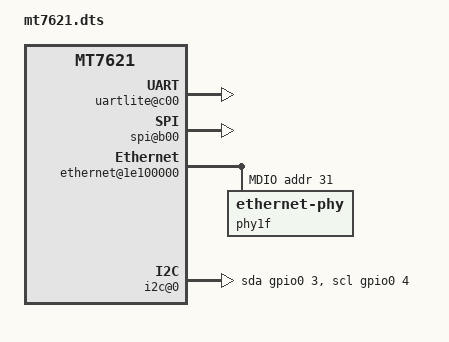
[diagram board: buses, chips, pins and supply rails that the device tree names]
#include <dt-bindings/interrupt-controller/mips-gic.h>
#include <dt-bindings/gpio/gpio.h>

/dts-v1/;

/ {
	#address-cells = <1>;
	#size-cells = <1>;
	compatible = "mediatek,mtk7621-soc";

	cpus {
		cpu@0 {
			compatible = "mips,mips1004Kc";
		};

		cpu@1 {
			compatible = "mips,mips1004Kc";
		};
	};

	cpuintc: cpuintc@0 {
		#address-cells = <0>;
		#interrupt-cells = <1>;
		interrupt-controller;
		compatible = "mti,cpu-interrupt-controller";
	};

	cpuclock: cpuclock@0 {
		#clock-cells = <0>;
		compatible = "fixed-clock";
	};

	hclk: hclk@0 {
	        #clock-cells = <0>;
		compatible = "fixed-clock";

		clock-frequency = <220000000>;
	};

	sysclock: sysclock@0 {
		#clock-cells = <0>;
		compatible = "fixed-clock";

		clock-frequency	= <50000000>;
	};

	rb760-leds {
		status = "disabled";
		compatible = "leds-rb";

		sfp_led {
			label = "sfp-led";
			gpios = <&gpio0 9 GPIO_ACTIVE_HIGH>;
		};
		usb_power_off {
			label = "usb-power-off";
			gpios = <&gpio0 12 GPIO_ACTIVE_LOW>;
		};
		power_led {
			label = "power-led";
			gpios = <&gpio0 16 GPIO_ACTIVE_HIGH>;
			default-state = "on";
		};
		button {
			label = "button";
			gpios = <&gpio0 18 GPIO_ACTIVE_LOW>;
			default-state = "input";
		};
		mode_button {
			label = "mode-button";
			gpios = <&gpio0 13 GPIO_ACTIVE_LOW>;
			default-state = "input";
		};
	};

	m33-leds {
		status = "disabled";
		compatible = "leds-rb";

		user_led {
			label = "user-led";
			gpios = <&gpio0 0 GPIO_ACTIVE_HIGH>;
		};
		ext_pin3 {
			label = "ext-pin3";
			gpios = <&gpio0 3 GPIO_ACTIVE_HIGH>;
			default-state = "input";
		};
		ext_pin5 {
			label = "ext-pin5";
			gpios = <&gpio0 4 GPIO_ACTIVE_HIGH>;
			default-state = "input";
		};
		pcie_power_off {
			label = "mpcie-power-off";
			gpios = <&gpio0 9 GPIO_ACTIVE_LOW>;
		};
		pcie2_power_off {
			label = "mpcie2-power-off";
			gpios = <&gpio0 10 GPIO_ACTIVE_LOW>;
		};
		usb_power_off {
			label = "usb-power-off";
			gpios = <&gpio0 12 GPIO_ACTIVE_LOW>;
		};
		button {
			label = "button";
			gpios = <&gpio0 18 GPIO_ACTIVE_LOW>;
			default-state = "input";
		};
	};

	m11-leds {
		status = "disabled";
		compatible = "leds-rb";

		user_led {
			label = "user-led";
			gpios = <&gpio0 0 GPIO_ACTIVE_HIGH>;
		};
		pcie_power_off {
			label = "mpcie-power-off";
			gpios = <&gpio0 9 GPIO_ACTIVE_LOW>;
		};
		button {
			label = "button";
			gpios = <&gpio0 18 GPIO_ACTIVE_LOW>;
			default-state = "input";
		};
		led1 {
			label = "led1";
			gpios = <&gpio0 26 GPIO_ACTIVE_LOW>;
		};
		led2 {
			label = "led2";
			gpios = <&gpio0 25 GPIO_ACTIVE_LOW>;
		};
		led3 {
			label = "led3";
			gpios = <&gpio0 24 GPIO_ACTIVE_LOW>;
		};
		led4 {
			label = "led4";
			gpios = <&gpio0 23 GPIO_ACTIVE_LOW>;
		};
		led5 {
			label = "led5";
			gpios = <&gpio0 22 GPIO_ACTIVE_LOW>;
		};
	};

	ltap-leds {
		status = "disabled";
		compatible = "leds-rb";

		user_led {
			label = "user-led";
			gpios = <&gpio0 0 GPIO_ACTIVE_HIGH>;
		};
		pcie_power_off {
			label = "mpcie-power-off";
			gpios = <&gpio0 10 GPIO_ACTIVE_LOW>;
		};
		pcie2_power_off {
			label = "mpcie2-power-off";
			gpios = <&gpio0 11 GPIO_ACTIVE_LOW>;
		};
		usb_power_off {
			label = "usb-power-off";
			gpios = <&gpio0 12 GPIO_ACTIVE_LOW>;
		};
		gps_reset {
			label = "gps-reset";
			gpios = <&gpio0 13 GPIO_ACTIVE_HIGH>;
			default-state = "keep";
		};
		control {
			label = "control";
			gpios = <&gpio0 15 GPIO_ACTIVE_HIGH>;
			default-state = "on";
		};
		button {
			label = "button";
			gpios = <&gpio0 18 GPIO_ACTIVE_LOW>;
			default-state = "input";
		};
		power_led {
			label = "power-led";
			gpios = <&gpio0 23 GPIO_ACTIVE_HIGH>;
			default-state = "on";
		};
		mode_button {
			label = "mode-button";
			gpios = <&gpio0 24 GPIO_ACTIVE_LOW>;
			default-state = "input";
		};
		sim_select {
			label = "sim-select";
			gpios = <&gpio0 25 GPIO_ACTIVE_LOW>;
		};
		gps_ant_select {
			label = "gps-ant-select";
			gpios = <&gpio0 27 GPIO_ACTIVE_HIGH>;
		};
		lte_reset {
			label = "lte-reset";
			gpios = <&gpio0 29 GPIO_ACTIVE_LOW>;
			default-state = "on";
		};
		led1 {
			label = "led1";
			gpios = <&gpio0 0 GPIO_ACTIVE_HIGH>;
			type = "wifi";
		};
		led2{
			label = "led2";
			gpios = <&gpio0 1 GPIO_ACTIVE_HIGH>;
			type = "wifi";
		};
		led3 {
			label = "led3";
			gpios = <&gpio0 2 GPIO_ACTIVE_HIGH>;
			type = "wifi";
		};
		led4 {
			label = "led4";
			gpios = <&gpio0 3 GPIO_ACTIVE_HIGH>;
			type = "wifi";
		};
		led5 {
			label = "led5";
			gpios = <&gpio0 4 GPIO_ACTIVE_HIGH>;
			type = "wifi";
		};
	};
	
	beeper {
	        status = "disabled";

	        compatible = "rb,gpio-beep";

		gpios = <&gpio0 15 GPIO_ACTIVE_LOW>;
	};

	poe-simple {
		status = "disabled";
		compatible = "rb,poe-out-simple";
		eth_port = <4>;
		has_low_current_sense = <1>;
		gpi_status = <&gpio0 7 GPIO_ACTIVE_HIGH>;
		gpo_on = <&gpio0 17 GPIO_ACTIVE_HIGH>;
	};

	palmbus@1e000000 {
		compatible = "palmbus";
		reg = <0x1E000000 0x100000>;
		ranges = <0x0 0x1E000000 0x0FFFFF>;

		#address-cells = <1>;
		#size-cells = <1>;

		sysc@0 {
			compatible = "mtk,mt7621-sysc";
			reg = <0x0 0x100>;
		};

		wdt@100 {
			compatible = "mtk,mt7621-wdt";
			reg = <0x100 0x100>;
		};

		gpio0: gpio@600 {
			#gpio-cells = <2>;
			#interrupt-cells = <2>;
			compatible = "mediatek,mt7621-gpio";
			gpio-controller;
			interrupt-controller;
			reg = <0x600 0x100>;
			interrupt-parent = <&gic>;
			interrupts = <GIC_SHARED 12 IRQ_TYPE_LEVEL_HIGH>;
		};

		memc@5000 {
			compatible = "mtk,mt7621-memc";
			reg = <0x300 0x100>;
		};

		cpc@1fbf0000 {
			     compatible = "mtk,mt7621-cpc";
			     reg = <0x1fbf0000 0x8000>;
		};

		mc@1fbf8000 {
			    compatible = "mtk,mt7621-mc";
			    reg = <0x1fbf8000 0x8000>;
 		};

		uartlite@c00 {
			compatible = "ns16550a";
			reg = <0xc00 0x100>;

			clocks = <&sysclock>;

			interrupt-parent = <&gic>;
			interrupts = <GIC_SHARED 26 IRQ_TYPE_LEVEL_HIGH>;

			reg-shift = <2>;
			reg-io-width = <4>;
			no-loopback-test;
		};

		uartlite@e00 {
			status = "disabled";
			compatible = "ns16550a";
			reg = <0xe00 0x100>;

			clocks = <&sysclock>;

			interrupt-parent = <&gic>;
			interrupts = <GIC_SHARED 28 IRQ_TYPE_LEVEL_HIGH>;

			reg-shift = <2>;
			reg-io-width = <4>;
			no-loopback-test;
		};
		
		spi@b00 {
			status = "okay";

			compatible = "ralink,mt7621-spi";
			reg = <0xb00 0x100>;

			clocks = <&hclk>;

			resets = <&rstctrl 18>;
			reset-names = "spi";

			#address-cells = <1>;
			#size-cells = <0>;

			m25p80@0 {
				#address-cells = <1>;
				#size-cells = <1>;
				status = "disabled";
				compatible = "jedec,spi-nor";
				reg = <0>;
				spi-max-frequency = <30000000>;
				m25p,chunked-io = <32>;
	
				partition@40000 {
					 label = "RouterOS";
					 reg = <0x40000 0xfc0000>;
				};
				partition@0 {
					 label = "RouterBoot";
					 reg = <0x0 0x40000>;
				};
			};

			m25p80@1 {
				#address-cells = <1>;
				#size-cells = <1>;
				status = "disabled";
				compatible = "jedec,spi-nor";
				reg = <1>;
				spi-max-frequency = <30000000>;
				m25p,chunked-io = <32>;
	
				partition@40000 {
					 label = "RouterOS";
					 reg = <0x40000 0xfc0000>;
				};
				partition@0 {
					 label = "RouterBootFake";
					 reg = <0x0 0x40000>;
				};
			};
			
			m25p80_boot@0 {
				#address-cells = <1>;
				#size-cells = <1>;
				status = "disabled";
				compatible = "jedec,spi-nor";
				reg = <0>;
				spi-max-frequency = <30000000>;
				m25p,chunked-io = <32>;
	
				partition@0 {
					 label = "RouterBoot";
					 reg = <0x0 0x40000>;
				};
			};
			
			ts@1 {
				status = "disabled";
				
				compatible = "rb-spi-ts";
				reg = <1>;
				spi-max-frequency = <2000000>;
			};
		};
	};

	rstctrl: rstctrl {
		compatible = "ralink,rt2880-reset";
		#reset-cells = <1>;
	};

	sdhci@1e130000 {
		status = "disabled";

		compatible = "ralink,mt7620-sdhci";
		reg = <0x1E130000 0x4000>;

		interrupt-parent = <&gic>;
		interrupts = <GIC_SHARED 20 IRQ_TYPE_LEVEL_HIGH>;
	};

	xhci@1e1c0000 {
		status = "disabled";

		compatible = "mediatek,mt8173-xhci";
		reg = <0x1e1c0000 0x1000
		       0x1e1d0700 0x0100>;
		reg-names = "mac", "ippc";

		clocks = <&sysclock>;
		clock-names = "sys_ck";

		interrupt-parent = <&gic>;
		interrupts = <GIC_SHARED 22 IRQ_TYPE_LEVEL_HIGH>;
	};

	crypto@1e004000 {
		compatible = "mediatek,mt7621-crypto";
		reg = <0x1e004000 0x1000>;

		interrupt-parent = <&gic>;
		interrupts = <GIC_SHARED 19 IRQ_TYPE_LEVEL_HIGH>;
	};

	gic: interrupt-controller@1fbc0000 {
		compatible = "mti,gic";
		reg = <0x1fbc0000 0x80>;

		interrupt-controller;
		#interrupt-cells = <3>;

		mti,reserved-cpu-vectors = <7>;

		interrupt-parent = <&cpuintc>;

		timer {
			compatible = "mti,gic-timer";
			interrupts = <GIC_LOCAL 1 IRQ_TYPE_NONE>;
			clocks = <&cpuclock>;
		};

	};

	ethernet@1e100000 {
		compatible = "ralink,mt7621-eth";
		reg = <0x1e100000 10000>;

		#address-cells = <1>;
		#size-cells = <0>;

		resets = <&rstctrl 6 &rstctrl 23>;
		reset-names = "fe", "eth";

		interrupt-parent = <&gic>;
		interrupts = <GIC_SHARED 3 IRQ_TYPE_LEVEL_HIGH>;

		mdio-bus {
			#address-cells = <1>;
			#size-cells = <0>;

			phy1f: ethernet-phy@1f {
				reg = <0x1f>;
				phy-mode = "rgmii";
			};
		};
	};

	gsw@1e110000 {
		compatible = "ralink,mt7620a-gsw";
		reg = <0x1e110000 8000>;
	};

	i2c@0 {
	        compatible = "i2c-gpio";
		sda-gpios = <&gpio0 3 (GPIO_ACTIVE_HIGH | GPIO_OPEN_DRAIN)>;
		scl-gpios = <&gpio0 4 (GPIO_ACTIVE_HIGH | GPIO_OPEN_DRAIN)>;
	};

	pcie@1e140000 {
		status = "disabled";
		compatible = "mediatek,mt7621-pci";
		reg = <0x1e140000 0x100
			0x1e142000 0x100>;

		#address-cells = <3>;
		#size-cells = <2>;

		device_type = "pci";

		bus-range = <0 255>;
		ranges = <
			0x02000000 0 0x00000000 0x60000000 0 0x10000000 /* pci memory */
			0x01000000 0 0x00000000 0x1e160000 0 0x00010000 /* io space */
		>;

		interrupt-parent = <&gic>;
		interrupts = <GIC_SHARED 4 IRQ_TYPE_LEVEL_HIGH
				GIC_SHARED 24 IRQ_TYPE_LEVEL_HIGH
				GIC_SHARED 25 IRQ_TYPE_LEVEL_HIGH>;

		pcie@0,0 {
			reg = <0x0000 0 0 0 0>;
			#address-cells = <3>;
			#size-cells = <2>;
			ranges;
			bus-range = <0x00 0xff>;
		};

		pcie@1,0 {
			reg = <0x0800 0 0 0 0>;
			#address-cells = <3>;
			#size-cells = <2>;
			ranges;
			bus-range = <0x00 0xff>;
		};

		pcie@2,0 {
			reg = <0x1000 0 0 0 0>;
			#address-cells = <3>;
			#size-cells = <2>;
			ranges;
			bus-range = <0x00 0xff>;
		};
	};
};
